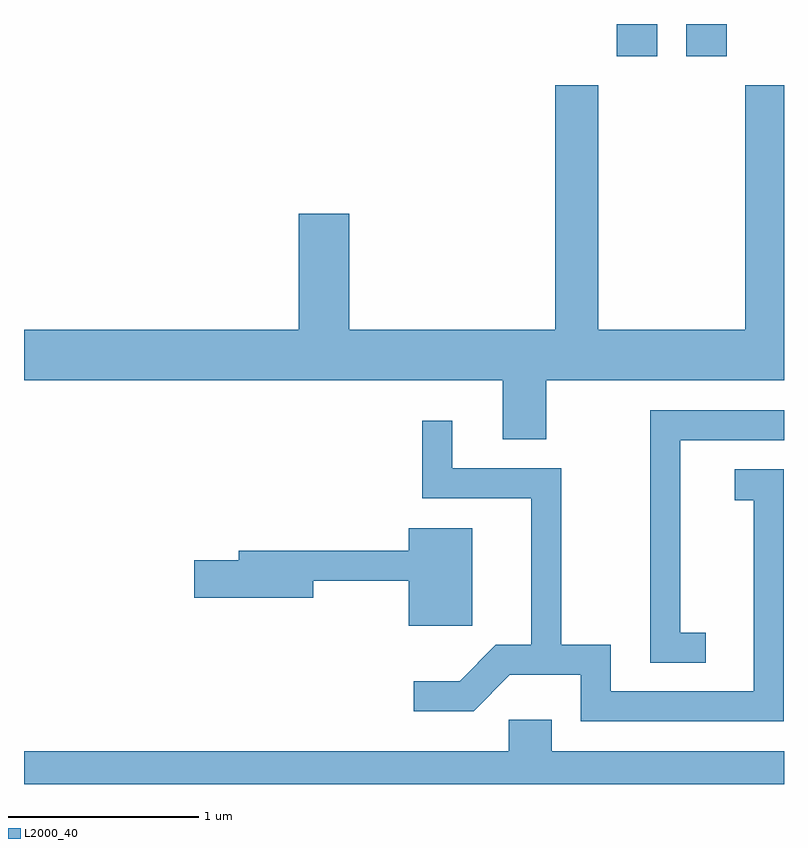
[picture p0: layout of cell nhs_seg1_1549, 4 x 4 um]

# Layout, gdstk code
import gdstk
lib = gdstk.Library(unit=1e-6, precision=1e-09)
def R(c, l, rs):  # rectangles x0, y0, x1, y1
    for r in rs: c.add(gdstk.rectangle(r[:2], r[2:], *l))
def P(c, l, *ps):  # polygons
    for p in ps: c.add(gdstk.Polygon(p, *l))
L2000_40 = (2000, 40)

nhs_seg1_1549 = lib.new_cell('nhs_seg1_1549')
R(nhs_seg1_1549, L2000_40, [(236.731,863.541,236.944,863.712), (237.096,863.541,237.309,863.712)])
P(nhs_seg1_1549, L2000_40, [(236.131,861.526),(236.359,861.526),(236.359,861.836),(237.611,861.836),(237.611,863.389),(237.406,863.389),(237.406,862.104),(236.634,862.104),(236.634,863.389),(236.406,863.389),(236.406,862.104),(235.324,862.104),(235.324,862.714),(235.056,862.714),(235.056,862.104),(233.611,862.104),(233.611,861.836),(236.131,861.836)],
  [(237.198,860.509),(237.064,860.509),(237.064,861.521),(237.611,861.521),(237.611,861.679),(236.906,861.679),(236.906,860.351),(237.198,860.351)],
  [(237.609,861.369),(237.353,861.369),(237.353,861.206),(237.451,861.206),(237.451,860.199),(236.699,860.199),(236.699,860.444),(236.439,860.444),(236.439,861.374),(235.864,861.374),(235.864,861.623),(235.706,861.623),(235.706,861.216),(236.281,861.216),(236.281,860.444),(236.094,860.444),(235.904,860.254),(235.663,860.254),(235.663,860.096),(235.977,860.096),(236.167,860.286),(236.541,860.286),(236.541,860.041),(237.609,860.041)],
  [(235.969,861.059),(235.636,861.059),(235.636,860.939),(234.741,860.939),(234.741,860.889),(234.506,860.889),(234.506,860.691),(235.134,860.691),(235.134,860.781),(235.636,860.781),(235.636,860.546),(235.969,860.546)],
  [(237.611,859.884),(236.389,859.884),(236.389,860.049),(236.161,860.049),(236.161,859.884),(233.611,859.884),(233.611,859.712),(237.611,859.712)])

lib.write_gds('nhs_seg1_1549.gds')
